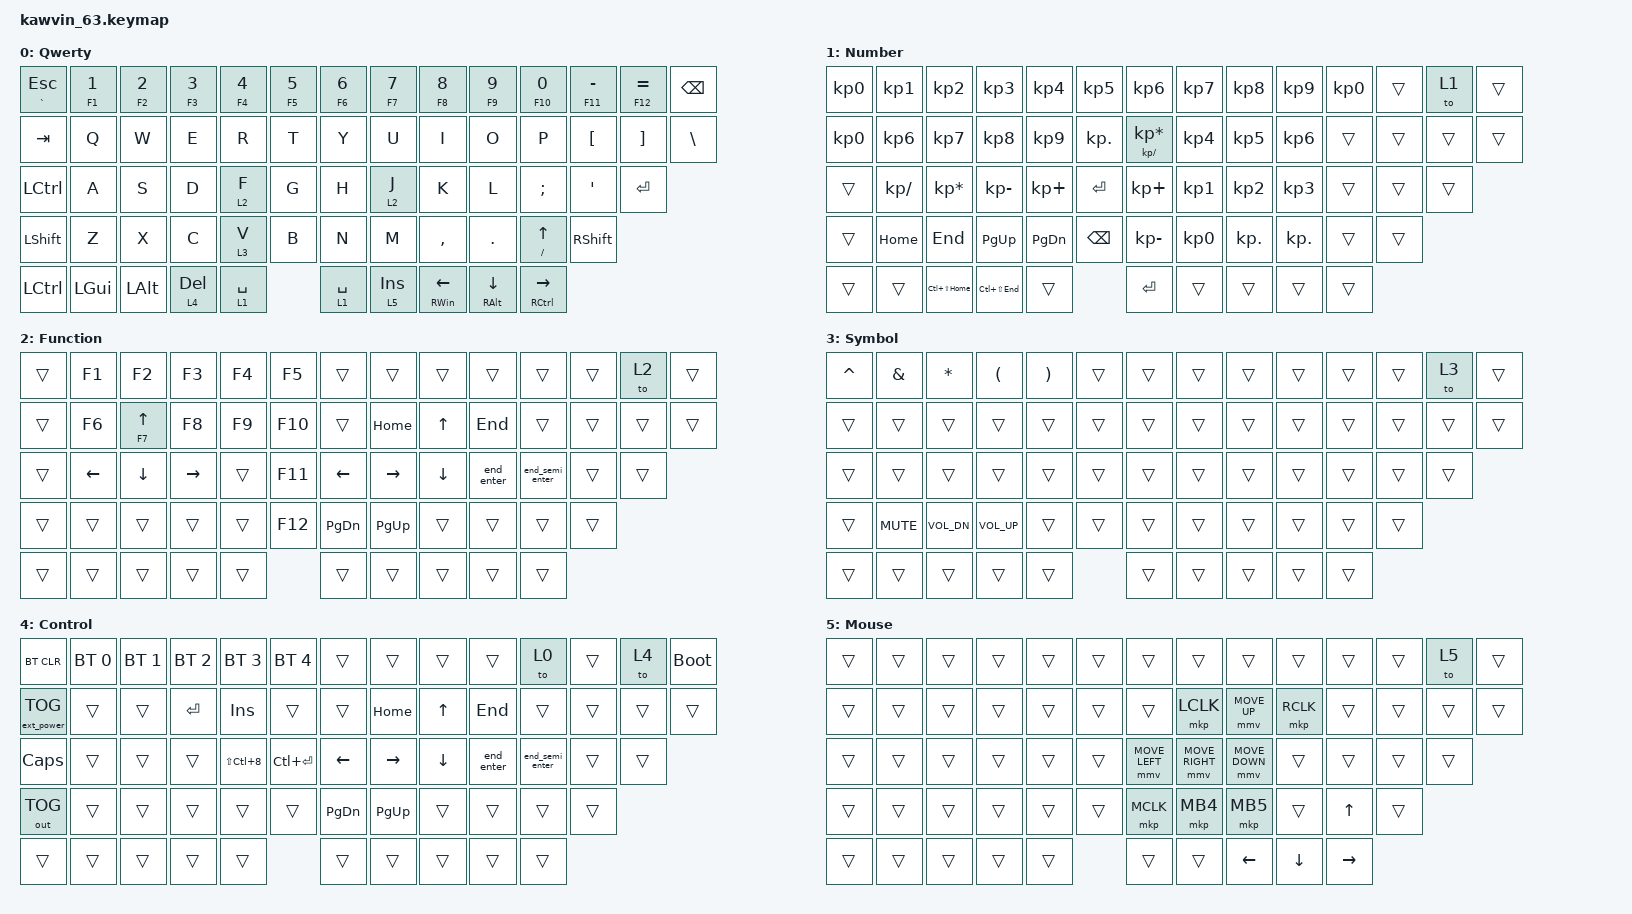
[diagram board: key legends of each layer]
/*
 * Copyright (c) 2023 The ZMK Contributors
 *
 * SPDX-License-Identifier: MIT
 */

#include <behaviors/mouse_keys.dtsi>
#include <behaviors.dtsi>
#include <dt-bindings/zmk/bt.h>
#include <dt-bindings/zmk/ext_power.h>
#include <dt-bindings/zmk/keys.h>
#include <dt-bindings/zmk/mouse.h>
#include <dt-bindings/zmk/outputs.h>

#define ZMK_MOUSE_DEFAULT_MOVE_VAL 1200  // 600
#define ZMK_MOUSE_DEFAULT_SCRL_VAL 20    // 10
#define U_MS_U &mmv MOVE_UP
#define U_MS_D &mmv MOVE_DOWN
#define U_MS_L &mmv MOVE_LEFT
#define U_MS_R &mmv MOVE_RIGHT
#define ZMK_MOUSE_DEFAULT_MOVE_VAL 1200  //  600
#define ZMK_MOUSE_DEFAULT_SCRL_VAL 20    // 10

/ {
    macros {
        Ky_MyPwd: Ky_MyPwd {
            label = "Ky_MyPwd";
            compatible = "zmk,behavior-macro";
            #binding-cells = <0>;
            wait-ms = <0>;
            tap-ms = <0>;
            bindings = <&kp N0 &kp N1 &kp N2 &kp N3 &kp N4 &kp N5>;
        };

        end_enter: end_enter {
            compatible = "zmk,behavior-macro";
            #binding-cells = <0>;
            bindings = <&kp END &kp ENTER>;
            label = "END_ENTER";
        };

        end_semi_enter: end_semi_enter {
            compatible = "zmk,behavior-macro";
            #binding-cells = <0>;
            bindings = <&kp END &kp SEMI &kp ENTER>;
            label = "END_SEMI_ENTER";
        };
    };

    behaviors {
        hm: homerow_mods {
            compatible = "zmk,behavior-hold-tap";
            label = "HOMEROW_MODS";
            bindings = <&kp>, <&kp>;

            #binding-cells = <2>;
            tapping-term-ms = <200>;
            quick-tap-ms = <180>;
            flavor = "tap-preferred";
        };

        ltq: ltq {
            compatible = "zmk,behavior-hold-tap";
            label = "LTQ";
            bindings = <&mo>, <&kp>;

            #binding-cells = <2>;
            tapping-term-ms = <300>;
            quick-tap-ms = <180>;
            flavor = "tap-preferred";
        };

        as: auto_shift {
            compatible = "zmk,behavior-hold-tap";
            label = "AUTO_SHIFT";
            bindings = <&kp>, <&kp>;

            #binding-cells = <2>;
            tapping-term-ms = <135>;
            quick-tap-ms = <0>;
        };
    };

    combos {
        compatible = "zmk,combos";

        esc {
            bindings = <&kp ESCAPE>;
            key-positions = <0 1>;
            timeout-ms = <200>;
        };

        bkt_left {
            bindings = <&mt RIGHT_BRACKET LEFT_BRACKET>;
            key-positions = <18 19>;
            timeout-ms = <200>;
        };

        bkt_right {
            bindings = <&mt LEFT_BRACKET RIGHT_BRACKET>;
            key-positions = <20 21>;
            timeout-ms = <200>;
        };

        par_left {
            bindings = <&mt RIGHT_PARENTHESIS LEFT_PARENTHESIS>;
            key-positions = <3 4>;
            timeout-ms = <200>;
        };

        par_right {
            bindings = <&mt LEFT_PARENTHESIS RIGHT_PARENTHESIS>;
            key-positions = <9 10>;
            timeout-ms = <200>;
        };

        brace_left {
            bindings = <&mt RIGHT_BRACE LEFT_BRACE>;
            key-positions = <15 16>;
            timeout-ms = <200>;
        };

        brace_right {
            bindings = <&mt LEFT_BRACE RIGHT_BRACE>;
            key-positions = <25 26>;
            timeout-ms = <200>;
        };

        bac_pipe {
            bindings = <&mt PIPE BACKSLASH>;
            key-positions = <14 15>;
            timeout-ms = <200>;
        };

        minus_under_left {
            bindings = <&mt UNDER MINUS>;
            key-positions = <2 3>;
            timeout-ms = <200>;
        };

        comma_dot {
            bindings = <&mt DOT COMMA>;
            key-positions = <44 45>;
            timeout-ms = <200>;
        };

        bslh_fslh {
            bindings = <&mt BSLH SLASH>;
            key-positions = <43 44>;
            timeout-ms = <200>;
        };

        minus_under_right {
            bindings = <&mt UNDER MINUS>;
            key-positions = <12 11>;
            timeout-ms = <200>;
        };

        enter {
            bindings = <&kp ENTER>;
            key-positions = <35 36>;
        };

        question {
            bindings = <&kp QMARK>;
            key-positions = <42 43>;
        };

        equal_plus {
            bindings = <&mt PLUS EQUAL>;
            key-positions = <1 2>;
        };
    };

    keymap {
        compatible = "zmk,keymap";

        qwerty_layer {
            //  ---------------------------------------------------------------------------------
            //  |GRAVE |N1  |N2  |N3        |N4          |N5  |N6  |N7          |N8        |N9  |N0  |MINUS |EQUAL|BSPC|
            //  |TAB   |Q   |W   |E         |R           |T   |Y   |U           |I         |O   |P   |LBKT  |RBKT |BSLH|
            //  |CAPS  |A   |S   |D         |&ltq 2 F    |G   |H   |J           |K         |L   |SEMI|SQT   |ENTER|    |
            //  |LSHIFT|Z   |X   |C         |&ltq 3 V    |B   |N   |M           |COMMA     |DOT |FSLH|RSHIFT|     |    |
            //  |LCTRL |LGUI|LALT|&ltq 4 DEL|&ltq 1 SPACE|    |    |&ltq 1 SPACE|&ltq 5 INS|RGUI|RALT|RCTRL |     |    |

            bindings = <
&mt GRAVE ESC  &mt F1 N1  &mt F2 N2  &mt F3 N3   &mt F4 N4     &mt F5 N5  &mt F6 N6     &mt F7 N7   &mt F8 N8      &mt F9 N9      &mt F10 N0       &mt F11 MINUS  &mt F12 EQUAL  &kp BSPC
&kp TAB        &kp Q      &kp W      &kp E       &kp R         &kp T      &kp Y         &kp U       &kp I          &kp O          &kp P            &kp LBKT       &kp RBKT       &kp BSLH
&kp LCTRL      &kp A      &kp S      &kp D       &ltq 2 F      &kp G      &kp H         &ltq 2 J    &kp K          &kp L          &kp SEMI         &kp SQT        &kp ENTER
&kp LSHIFT     &kp Z      &kp X      &kp C       &ltq 3 V      &kp B      &kp N         &kp M       &kp COMMA      &kp DOT        &mt FSLH UP      &kp RSHIFT
&kp LCTRL      &kp LGUI   &kp LALT   &ltq 4 DEL  &ltq 1 SPACE             &ltq 1 SPACE  &ltq 5 INS  &hm RWIN LEFT  &hm RALT DOWN  &hm RCTRL RIGHT
            >;

            label = "Qwerty";
        };

        number_layer {
            //  ---------------------------------------------------------------------------------
            //  |N0  |     |            |           |     |     |                        |     |    |    |    |    |    |    |
            //  |N0  |N6   |N7          |N8         |N9   |DOT  |&mt KP_SLASH KP_MULTIPLY|N4   |N5  |N6  |    |    |    |    |
            //  |    |SLASH|MULTIPLY    |MINUS      |PLUS |ENTER|PLUS                    |1    |2   |3   |    |    |    |    |
            //  |    |HOME |END         |PG_UP      |PG_DN|BSPC |MINUS                   |N0   |DOT |DOT |    |    |    |    |
            //  |    |     |LC(LS(HOME))|LC(LS(END))|     |     |                        |ENTER|    |    |    |    |    |    |

            bindings = <
&kp KP_NUMBER_0  &kp KP_NUMBER_1  &kp KP_NUMBER_2   &kp KP_NUMBER_3  &kp KP_NUMBER_4  &kp KP_N5   &kp KP_NUMBER_6           &kp KP_NUMBER_7  &kp KP_NUMBER_8  &kp KP_NUMBER_9  &kp KP_NUMBER_0  &trans  &to 1   &trans
&kp KP_NUMBER_0  &kp KP_NUMBER_6  &kp KP_NUMBER_7   &kp KP_NUMBER_8  &kp KP_NUMBER_9  &kp KP_DOT  &mt KP_SLASH KP_MULTIPLY  &kp KP_NUMBER_4  &kp KP_NUMBER_5  &kp KP_NUMBER_6  &trans           &trans  &trans  &trans
&trans           &kp KP_SLASH     &kp KP_MULTIPLY   &kp KP_MINUS     &kp KP_PLUS      &kp ENTER   &kp KP_PLUS               &kp KP_NUMBER_1  &kp KP_NUMBER_2  &kp KP_NUMBER_3  &trans           &trans  &trans
&trans           &kp HOME         &kp END           &kp PG_UP        &kp PG_DN        &kp BSPC    &kp KP_MINUS              &kp KP_NUMBER_0  &kp KP_DOT       &kp KP_DOT       &trans           &trans
&trans           &trans           &kp LC(LS(HOME))  &kp LC(LS(END))  &trans                       &kp ENTER                 &trans           &trans           &trans           &trans
            >;

            label = "Number";
        };

        function_layer {
            //  ---------------------------------------------------------------------------------
            //  |    |F1  |F2       |F3   |F4  |F5  |     |     |    |          |               |    |    |    |
            //  |    |F6  |&mt F7 UP|F8   |F9  |F10 |     |HOME |UP  |END       |               |    |    |    |
            //  |    |LEFT|DOWN     |RIGHT|    |F11 |LEFT |RIGHT|DOWN|&end_enter|&end_semi_enter|    |    |    |
            //  |    |    |         |     |    |F12 |PG_DN|PG_UP|    |          |               |    |    |    |
            //  |    |    |         |     |    |    |     |     |    |          |               |    |    |    |

            bindings = <
&trans  &kp F1    &kp F2     &kp F3     &kp F4  &kp F5   &trans     &trans     &trans    &trans      &trans           &trans  &to 2   &trans
&trans  &kp F6    &mt F7 UP  &kp F8     &kp F9  &kp F10  &trans     &kp HOME   &kp UP    &kp END     &trans           &trans  &trans  &trans
&trans  &kp LEFT  &kp DOWN   &kp RIGHT  &trans  &kp F11  &kp LEFT   &kp RIGHT  &kp DOWN  &end_enter  &end_semi_enter  &trans  &trans
&trans  &trans    &trans     &trans     &trans  &kp F12  &kp PG_DN  &kp PG_UP  &trans    &trans      &trans           &trans
&trans  &trans    &trans     &trans     &trans           &trans     &trans     &trans    &trans      &trans
            >;

            label = "Function";
        };

        symbol_layer {
            //  ---------------------------------------------------------------------------------
            //  |CARET|AMPS|STAR|LPAR|RPAR|    |    |    |    |    |    |    |    |    |
            //  |     |    |    |    |    |    |    |    |    |    |    |    |    |    |
            //  |     |    |    |    |    |    |    |    |    |    |    |    |    |    |
            //  |     |    |    |    |    |    |    |    |    |    |    |    |    |    |
            //  |     |    |    |    |    |    |    |    |    |    |    |    |    |    |

            bindings = <
&kp CARET  &kp AMPS    &kp STAR      &kp LPAR      &kp RPAR  &trans  &trans  &trans  &trans  &trans  &trans  &trans  &to 3   &trans
&trans     &trans      &trans        &trans        &trans    &trans  &trans  &trans  &trans  &trans  &trans  &trans  &trans  &trans
&trans     &trans      &trans        &trans        &trans    &trans  &trans  &trans  &trans  &trans  &trans  &trans  &trans
&trans     &kp C_MUTE  &kp C_VOL_DN  &kp C_VOL_UP  &trans    &trans  &trans  &trans  &trans  &trans  &trans  &trans
&trans     &trans      &trans        &trans        &trans            &trans  &trans  &trans  &trans  &trans
            >;

            label = "Symbol";

            //sensor-bindings = <&inc_dec_kp C_VOL_UP C_VOL_DN>;
            //sensor-bindings = <&inc_dec_kp C_VOL_UP C_VOL_DN &inc_dec_kp PG_UP PG_DN>;
        };

        control_layer {
            //  ---------------------------------------------------------------------------------
            //  |BT_CLR      |BT_SEL 0|BT_SEL 1|BT_SEL 2|BT_SEL 3  |BT_SEL 4 |     |     |    |          |               |    |    |&bootloader|
            //  |EP_TOG      |        |        |ENTER   |INS       |         |     |HOME |UP  |END       |               |    |    |           |
            //  |R           |        |        |        |LS(LC(N8))|LC(ENTER)|LEFT |RIGHT|DOWN|&end_enter|&end_semi_enter|    |    |           |
            //  |&out OUT_TOG|        |        |        |          |         |PG_DN|PG_UP|    |          |               |    |    |           |
            //  |            |        |        |        |          |         |     |     |    |          |               |    |    |           |

            bindings = <
&bt BT_CLR         &bt BT_SEL 0  &bt BT_SEL 1  &bt BT_SEL 2  &bt BT_SEL 3    &bt BT_SEL 4   &trans     &trans     &trans    &trans      &to 0            &trans  &to 4   &bootloader
&ext_power EP_TOG  &trans        &trans        &kp ENTER     &kp INS         &trans         &trans     &kp HOME   &kp UP    &kp END     &trans           &trans  &trans  &trans
&kp CLCK           &trans        &trans        &trans        &kp LS(LC(N8))  &kp LC(ENTER)  &kp LEFT   &kp RIGHT  &kp DOWN  &end_enter  &end_semi_enter  &trans  &trans
&out OUT_TOG       &trans        &trans        &trans        &trans          &trans         &kp PG_DN  &kp PG_UP  &trans    &trans      &trans           &trans
&trans             &trans        &trans        &trans        &trans                         &trans     &trans     &trans    &trans      &trans
            >;

            label = "Control";
        };

        mouse_layer {
            //  ---------------------------------------------------------------------------------
            //  |    |    |    |    |    |    |              |               |              |         |    |     |    |    |
            //  |    |    |    |    |    |    |              |&mkp LCLK      |&mmv MOVE_UP  |&mkp RCLK|    |     |    |    |
            //  |    |    |    |    |    |    |&mmv MOVE_LEFT|&mmv MOVE_RIGHT|&mmv MOVE_DOWN|         |    |     |    |    |
            //  |    |    |    |    |    |    |&mkp MCLK     |&mkp MB4       |&mkp MB5      |         |UP  |     |    |    |
            //  |    |    |    |    |    |    |              |               |              |LEFT     |DOWN|RIGHT|    |    |

            bindings = <
&trans  &trans  &trans  &trans  &trans  &trans  &trans          &trans           &trans          &trans     &trans     &trans  &to 5   &trans
&trans  &trans  &trans  &trans  &trans  &trans  &trans          &mkp LCLK        &mmv MOVE_UP    &mkp RCLK  &trans     &trans  &trans  &trans
&trans  &trans  &trans  &trans  &trans  &trans  &mmv MOVE_LEFT  &mmv MOVE_RIGHT  &mmv MOVE_DOWN  &trans     &trans     &trans  &trans
&trans  &trans  &trans  &trans  &trans  &trans  &mkp MCLK       &mkp MB4         &mkp MB5        &trans     &kp UP     &trans
&trans  &trans  &trans  &trans  &trans          &trans          &trans           &kp LEFT        &kp DOWN   &kp RIGHT
            >;

            label = "Mouse";
        };
    };
};
